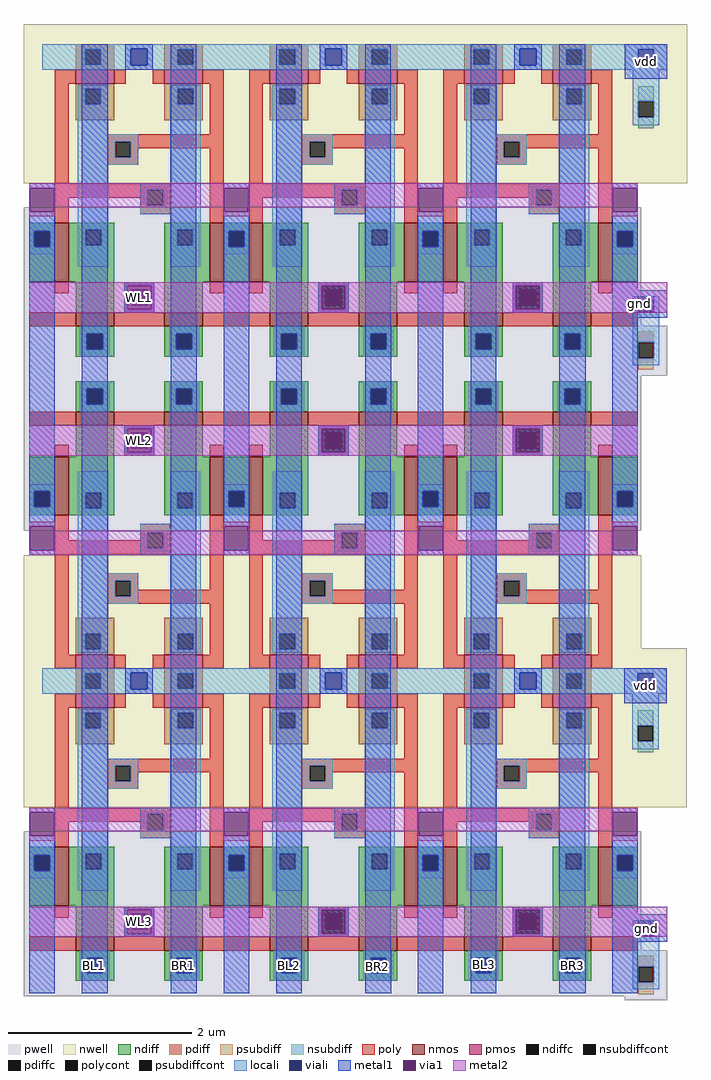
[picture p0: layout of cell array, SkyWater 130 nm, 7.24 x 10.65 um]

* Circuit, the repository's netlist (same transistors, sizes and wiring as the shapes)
* NGSPICE file created from array.ext - technology: sky130A

.subckt cell_1rw GND WL Q QB BL BR VDD VNB VPB
X0 Q WL BL VNB sky130_fd_pr__nfet_01v8 ad=4.596e+11p pd=2.95e+06u as=1.386e+11p ps=1.5e+06u w=420000u l=150000u
X1 VDD QB Q VPB sky130_fd_pr__pfet_01v8 ad=2.352e+11p pd=2.8e+06u as=1.68e+11p ps=1.64e+06u w=420000u l=150000u
X2 QB WL BR VNB sky130_fd_pr__nfet_01v8 ad=4.596e+11p pd=2.95e+06u as=1.386e+11p ps=1.5e+06u w=420000u l=150000u
X3 Q QB GND VNB sky130_fd_pr__nfet_01v8 ad=0p pd=0u as=3.584e+11p ps=3.68e+06u w=640000u l=150000u
X4 GND Q QB VNB sky130_fd_pr__nfet_01v8 ad=0p pd=0u as=0p ps=0u w=640000u l=150000u
X5 VDD Q QB VPB sky130_fd_pr__pfet_01v8 ad=0p pd=0u as=1.68e+11p ps=1.64e+06u w=420000u l=150000u
.ends

.subckt array vdd gnd WL1 WL2 WL3 BL1 BR1 BL2 BR2 BL3 BR3
Xcell_1rw_0 gnd WL1 cell_1rw_0/Q cell_1rw_0/QB BL1 BR1 vdd gnd vdd cell_1rw
Xcell_1rw_1 gnd WL1 cell_1rw_1/Q cell_1rw_1/QB BL2 BR2 vdd gnd vdd cell_1rw
Xcell_1rw_2 gnd WL1 cell_1rw_2/Q cell_1rw_2/QB BL3 BR3 vdd gnd vdd cell_1rw
Xcell_1rw_4 gnd WL2 cell_1rw_4/Q cell_1rw_4/QB BL2 BR2 vdd gnd vdd cell_1rw
Xcell_1rw_3 gnd WL2 cell_1rw_3/Q cell_1rw_3/QB BL1 BR1 vdd gnd vdd cell_1rw
Xcell_1rw_5 gnd WL2 cell_1rw_5/Q cell_1rw_5/QB BL3 BR3 vdd gnd vdd cell_1rw
Xcell_1rw_6 gnd WL3 cell_1rw_6/Q cell_1rw_6/QB BL1 BR1 vdd gnd vdd cell_1rw
Xcell_1rw_7 gnd WL3 cell_1rw_7/Q cell_1rw_7/QB BL2 BR2 vdd gnd vdd cell_1rw
Xcell_1rw_8 gnd WL3 cell_1rw_8/Q cell_1rw_8/QB BL3 BR3 vdd gnd vdd cell_1rw
.ends

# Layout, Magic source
magic
tech sky130A
magscale 1 2
<< metal1 >>
rect 1272 633 1364 709
rect 1244 112 1364 172
rect 1271 -729 1363 -653
rect 1263 -1198 1345 -1192
rect 1263 -1242 1349 -1198
rect 1263 -1249 1345 -1242
rect 87 -1335 143 -1269
rect 281 -1275 337 -1269
rect 281 -1330 338 -1275
rect 281 -1335 337 -1330
rect 517 -1331 564 -1273
rect 710 -1332 755 -1277
rect 942 -1328 987 -1273
rect 1134 -1330 1179 -1275
<< metal2 >>
rect 179 123 245 189
rect 179 -189 245 -123
rect 179 -1239 245 -1173
use cell_1rw  cell_1rw_3
transform 1 0 60 0 -1 -623
box -100 -630 400 130
use cell_1rw  cell_1rw_4
transform 1 0 484 0 -1 -623
box -100 -630 400 130
use cell_1rw  cell_1rw_6
transform 1 0 60 0 1 -739
box -100 -630 400 130
use cell_1rw  cell_1rw_7
transform 1 0 484 0 1 -739
box -100 -630 400 130
use cell_1rw  cell_1rw_5
transform 1 0 908 0 -1 -623
box -100 -630 400 130
use cell_1rw  cell_1rw_8
transform 1 0 908 0 1 -739
box -100 -630 400 130
use ptap_1rw  ptap_1rw_1
transform 1 0 1157 0 1 -1268
box 115 -109 207 100
use ntap_1rw  ntap_1rw_1
transform 1 0 793 0 1 -1259
box 434 303 614 650
use cell_1rw  cell_1rw_0
transform 1 0 60 0 1 623
box -100 -630 400 130
use cell_1rw  cell_1rw_1
transform 1 0 484 0 1 623
box -100 -630 400 130
use cell_1rw  cell_1rw_2
transform 1 0 908 0 1 623
box -100 -630 400 130
use ptap_1rw  ptap_1rw_0
transform 1 0 1157 0 1 94
box 115 -109 207 100
use ntap_1rw  ntap_1rw_0
transform 1 0 794 0 1 103
box 434 303 614 650
<< labels >>
rlabel metal1 517 -1331 564 -1273 1 BL2
port 8 n
rlabel metal1 710 -1332 755 -1277 1 BR2
port 9 n
rlabel metal1 942 -1328 987 -1273 1 BL3
port 10 n
rlabel metal1 1134 -1330 1179 -1275 1 BR3
port 11 n
rlabel metal2 179 -1239 245 -1173 1 WL3
port 5 n
rlabel metal2 179 -189 245 -123 1 WL2
port 4 n
rlabel metal2 179 123 245 189 1 WL1
port 3 n
rlabel metal1 1289 -1242 1349 -1198 1 gnd
rlabel metal1 1271 -729 1363 -653 1 vdd
rlabel metal1 1244 112 1364 172 1 gnd
port 2 n
rlabel metal1 1272 633 1364 709 1 vdd
port 1 n
rlabel metal1 87 -1335 143 -1269 1 BL1
port 6 n
rlabel metal1 281 -1335 337 -1269 1 BR1
port 7 n
<< end >>

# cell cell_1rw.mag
magic
tech sky130A
magscale 1 2
<< nwell >>
rect -100 -217 400 130
<< pwell >>
rect -100 -630 400 -270
<< nmos >>
rect -32 -432 -2 -304
rect 306 -432 336 -304
rect 13 -530 97 -500
rect 207 -530 291 -500
<< pmos >>
rect 13 0 97 30
rect 207 0 291 30
<< ndiff >>
rect -88 -322 -32 -304
rect -88 -356 -77 -322
rect -43 -356 -32 -322
rect -88 -432 -32 -356
rect -2 -319 97 -304
rect -2 -353 35 -319
rect 69 -353 97 -319
rect -2 -432 97 -353
rect 13 -500 97 -432
rect 207 -319 306 -304
rect 207 -353 235 -319
rect 269 -353 306 -319
rect 207 -432 306 -353
rect 336 -322 392 -304
rect 336 -356 347 -322
rect 381 -356 392 -322
rect 336 -432 392 -356
rect 207 -500 291 -432
rect 13 -546 97 -530
rect 13 -580 38 -546
rect 72 -580 97 -546
rect 13 -596 97 -580
rect 207 -546 291 -530
rect 207 -580 233 -546
rect 267 -580 291 -546
rect 207 -596 291 -580
<< pdiff >>
rect 13 75 97 86
rect 13 41 34 75
rect 68 41 97 75
rect 13 30 97 41
rect 207 75 291 86
rect 207 41 236 75
rect 270 41 291 75
rect 207 30 291 41
rect 13 -11 97 0
rect 13 -45 34 -11
rect 68 -45 97 -11
rect 13 -80 97 -45
rect 207 -11 291 0
rect 207 -45 236 -11
rect 270 -45 291 -11
rect 207 -80 291 -45
<< ndiffc >>
rect -77 -356 -43 -322
rect 35 -353 69 -319
rect 235 -353 269 -319
rect 347 -356 381 -322
rect 38 -580 72 -546
rect 233 -580 267 -546
<< pdiffc >>
rect 34 41 68 75
rect 236 41 270 75
rect 34 -45 68 -11
rect 236 -45 270 -11
<< poly >>
rect -32 0 13 30
rect 97 0 123 30
rect 181 0 207 30
rect 291 0 336 30
rect -32 -219 -2 0
rect 306 -111 336 0
rect 84 -127 336 -111
rect 84 -161 100 -127
rect 134 -141 336 -127
rect 134 -161 150 -141
rect 84 -177 150 -161
rect -32 -232 220 -219
rect -32 -249 170 -232
rect -32 -304 -2 -249
rect 154 -266 170 -249
rect 204 -266 220 -232
rect 154 -285 220 -266
rect 306 -304 336 -141
rect -32 -458 -2 -432
rect 119 -450 185 -434
rect 119 -484 135 -450
rect 169 -484 185 -450
rect 119 -500 185 -484
rect 306 -458 336 -432
rect -88 -530 13 -500
rect 97 -530 207 -500
rect 291 -530 392 -500
<< polycont >>
rect 100 -161 134 -127
rect 170 -266 204 -232
rect 135 -484 169 -450
<< locali >>
rect -60 76 364 86
rect -60 75 134 76
rect -60 41 34 75
rect 68 41 134 75
rect -60 40 134 41
rect 170 75 364 76
rect 170 41 236 75
rect 270 41 364 75
rect 170 40 364 41
rect -60 30 364 40
rect 18 -11 84 -4
rect 18 -45 34 -11
rect 68 -45 84 -11
rect 18 -111 84 -45
rect 220 -11 286 -4
rect 220 -45 236 -11
rect 270 -45 286 -11
rect 18 -127 150 -111
rect 18 -161 100 -127
rect 134 -161 150 -127
rect 18 -177 150 -161
rect -88 -322 -32 -304
rect -88 -356 -77 -322
rect -43 -356 -32 -322
rect -88 -372 -32 -356
rect 18 -319 84 -177
rect 220 -219 286 -45
rect 154 -232 286 -219
rect 154 -266 170 -232
rect 204 -266 286 -232
rect 154 -285 286 -266
rect 18 -353 35 -319
rect 69 -353 84 -319
rect 18 -400 84 -353
rect 220 -319 286 -285
rect 220 -353 235 -319
rect 269 -353 286 -319
rect 220 -400 286 -353
rect 336 -322 392 -304
rect 336 -356 347 -322
rect 381 -356 392 -322
rect 336 -372 392 -356
rect 119 -450 185 -434
rect 119 -484 135 -450
rect 169 -484 185 -450
rect 119 -500 185 -484
rect 22 -546 88 -530
rect 22 -580 38 -546
rect 72 -580 88 -546
rect 22 -596 88 -580
rect 217 -546 283 -530
rect 217 -580 233 -546
rect 267 -580 283 -546
rect 217 -596 283 -580
<< viali >>
rect 134 40 170 76
rect -77 -356 -43 -322
rect 347 -356 381 -322
rect 135 -484 169 -450
rect 38 -580 72 -546
rect 233 -580 267 -546
<< metal1 >>
rect -88 -228 -32 -218
rect -88 -280 -86 -228
rect -34 -280 -32 -228
rect -88 -322 -32 -280
rect -88 -356 -77 -322
rect -43 -356 -32 -322
rect -88 -623 -32 -356
rect 27 -546 83 86
rect 122 76 182 86
rect 122 40 134 76
rect 170 40 182 76
rect 122 30 182 40
rect 119 -441 185 -434
rect 119 -493 126 -441
rect 178 -493 185 -441
rect 119 -500 185 -493
rect 27 -580 38 -546
rect 72 -580 83 -546
rect 27 -623 83 -580
rect 221 -530 277 86
rect 336 -228 392 -218
rect 336 -280 338 -228
rect 390 -280 392 -228
rect 336 -322 392 -280
rect 336 -356 347 -322
rect 381 -356 392 -322
rect 221 -546 278 -530
rect 221 -580 233 -546
rect 267 -580 278 -546
rect 221 -623 278 -580
rect 336 -623 392 -356
<< via1 >>
rect -86 -280 -34 -228
rect 126 -450 178 -441
rect 126 -484 135 -450
rect 135 -484 169 -450
rect 169 -484 178 -450
rect 126 -493 178 -484
rect 338 -280 390 -228
<< metal2 >>
rect -88 -228 392 -218
rect -88 -280 -86 -228
rect -34 -270 338 -228
rect -34 -280 -32 -270
rect -88 -290 -32 -280
rect 336 -280 338 -270
rect 390 -280 392 -228
rect 336 -290 392 -280
rect -88 -441 392 -434
rect -88 -493 126 -441
rect 178 -493 392 -441
rect -88 -500 392 -493
<< labels >>
rlabel locali 94 -167 140 -125 1 Q
port 3 n
rlabel locali 163 -276 213 -228 1 QB
port 4 n
rlabel metal2 -84 -492 9 -445 1 WL
port 2 n
rlabel metal1 -83 -616 -39 -535 1 GND
port 1 n
rlabel metal1 341 -615 385 -534 1 GND
port 1 n
rlabel metal1 226 11 275 78 1 BR
port 6 n
rlabel metal1 30 19 78 80 1 BL
port 5 n
rlabel metal1 150 79 150 79 1 VDD
port 7 n
rlabel pwell 151 -585 151 -585 1 VNB
port 8 n
rlabel nwell 148 -41 148 -41 1 VPB
port 9 n
<< properties >>
string FIXED_BBOX -60 -623 364 58
<< end >>

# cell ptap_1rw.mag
magic
tech sky130A
magscale 1 2
<< pwell >>
rect 115 -109 207 0
<< psubdiff >>
rect 144 -36 178 -12
rect 144 -96 178 -70
<< psubdiffcont >>
rect 144 -70 178 -36
<< locali >>
rect 132 31 144 65
rect 178 31 190 65
rect 132 -36 190 31
rect 132 -70 144 -36
rect 178 -70 190 -36
rect 132 -86 190 -70
<< viali >>
rect 144 31 178 65
<< metal1 >>
rect 115 65 207 78
rect 115 31 144 65
rect 178 31 207 65
rect 115 18 207 31
<< metal2 >>
rect 115 29 207 95
<< labels >>
flabel locali s 153 -49 169 -30 0 FreeSans 250 0 0 0 VNB
port 2 nsew ground bidirectional
rlabel comment s 188 100 188 100 4 tap_1
<< properties >>
string FIXED_BBOX 115 -102 207 579
<< end >>

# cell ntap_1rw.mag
magic
tech sky130A
magscale 1 2
<< nwell >>
rect 434 303 614 650
<< nsubdiff >>
rect 507 481 541 514
rect 507 423 541 447
<< nsubdiffcont >>
rect 507 447 541 481
<< locali >>
rect 478 595 570 606
rect 478 561 507 595
rect 541 561 570 595
rect 478 550 570 561
rect 495 481 553 550
rect 495 447 507 481
rect 541 447 553 481
rect 495 429 553 447
<< viali >>
rect 507 561 541 595
<< metal1 >>
rect 478 595 570 606
rect 478 561 507 595
rect 541 561 570 595
rect 478 530 570 561
<< labels >>
flabel metal1 s 504 569 547 589 0 FreeSans 200 0 0 0 VPWR
port 4 nsew power bidirectional abutment
rlabel nsubdiffcont 515 448 530 479 1 VPB
<< properties >>
string FIXED_BBOX 478 -102 570 579
<< end >>
